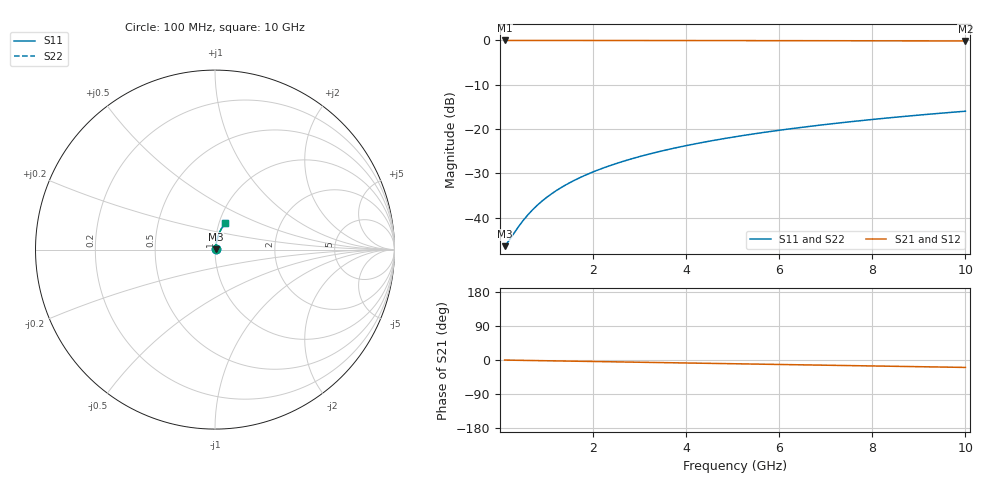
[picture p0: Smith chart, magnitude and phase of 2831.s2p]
# Hz S RI R 50.00
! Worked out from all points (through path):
!   100 points, 100 MHz to 10 GHz, reference 50 ohm
!   highest |S21| = -0.04 dB at 100 MHz (marker M1); lowest = -0.2 dB at 10 GHz (marker M2)
!   group delay of S21, straight-line fit = 5.44 ps
!   lowest |S11| = -46.4 dB at 100 MHz (marker M3), VSWR 1.01, Z = 50.5 + j0.162 ohm
!   |S11| at or under -10 dB: start of sweep to end of sweep
!   |S22| runs from -46.4 to -16.0 dB; largest |S21 - S12| = 0
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1e8  0.0045 0.00161  0.9955 -0.00342  0.9955 -0.00342  0.0045 0.00161
2e8  0.00455 0.00322  0.9954 -0.00684  0.9954 -0.00684  0.00455 0.00322
4e8  0.00465 0.00644  0.9953 -0.0137  0.9953 -0.0137  0.00465 0.00644
5e8  0.00471 0.00805  0.9952 -0.0171  0.9952 -0.0171  0.00471 0.00805
6e8  0.00479 0.00965  0.9951 -0.0205  0.9951 -0.0205  0.00479 0.00965
7e8  0.00487 0.0113  0.995 -0.0239  0.995 -0.0239  0.00487 0.0113
8e8  0.00496 0.0129  0.9949 -0.0273  0.9949 -0.0273  0.00496 0.0129
1e9  0.00518 0.0161  0.9946 -0.0342  0.9946 -0.0342  0.00518 0.0161
1.2e9  0.00544 0.0193  0.9943 -0.041  0.9943 -0.041  0.00544 0.0193
1.5e9  0.00591 0.0241  0.9937 -0.0512  0.9937 -0.0512  0.00591 0.0241
1.8e9  0.00647 0.0289  0.993 -0.0614  0.993 -0.0614  0.00647 0.0289
2.1e9  0.00714 0.0337  0.9921 -0.0716  0.9921 -0.0716  0.00714 0.0337
2.5e9  0.00817 0.04  0.9908 -0.0852  0.9908 -0.0852  0.00817 0.04
2.9e9  0.00938 0.0463  0.9892 -0.0988  0.9892 -0.0988  0.00938 0.0463
3.4e9  0.0111 0.0542  0.9869 -0.1157  0.9869 -0.1157  0.0111 0.0542
4.2e9  0.0145 0.0666  0.9826 -0.1426  0.9826 -0.1426  0.0145 0.0666
5.1e9  0.019 0.0802  0.9766 -0.1726  0.9766 -0.1726  0.019 0.0802
5.9e9  0.0238 0.0921  0.9704 -0.199  0.9704 -0.199  0.0238 0.0921
6.7e9  0.0292 0.1037  0.9633 -0.2252  0.9633 -0.2252  0.0292 0.1037
7.5e9  0.0352 0.115  0.9554 -0.251  0.9554 -0.251  0.0352 0.115
8.4e9  0.0427 0.1273  0.9455 -0.2796  0.9455 -0.2796  0.0427 0.1273
1e10  0.0577 0.1478  0.9255 -0.3293  0.9255 -0.3293  0.0577 0.1478
